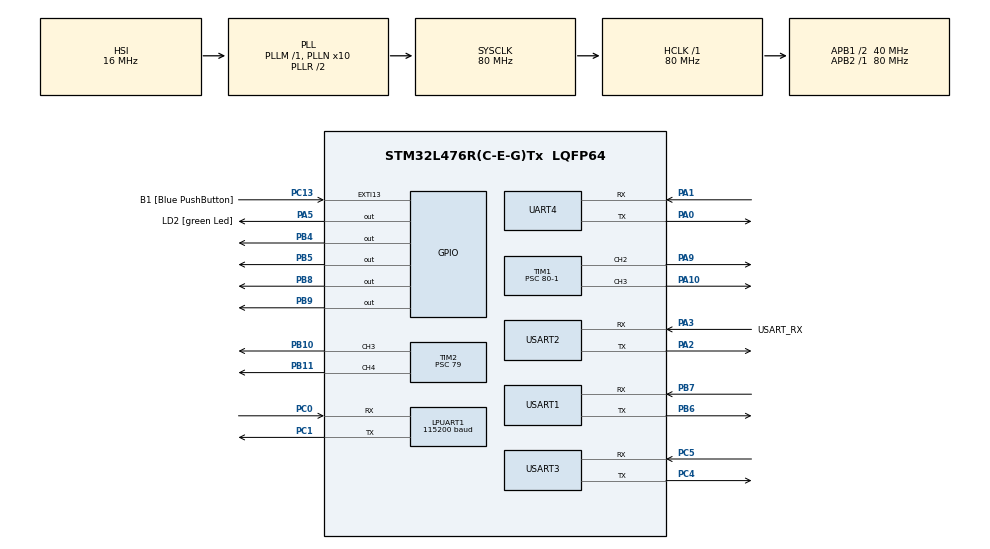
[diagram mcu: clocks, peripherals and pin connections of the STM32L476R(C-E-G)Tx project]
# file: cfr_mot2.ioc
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LPUART1.BaudRate=115200
LPUART1.WordLength=UART_WORDLENGTH_8B
Mcu.Family=STM32L4
Mcu.Name=STM32L476R(C-E-G)Tx
Mcu.Package=LQFP64
NVIC.LPUART1_IRQn=true\:0\:0\:false\:false\:true\:true\:true\:true
NVIC.PriorityGroup=NVIC_PRIORITYGROUP_4
NVIC.UART4_IRQn=true\:0\:0\:false\:false\:true\:true\:true\:true
PA0.Mode=Asynchronous
PA0.Signal=UART4_TX
PA1.Mode=Asynchronous
PA1.Signal=UART4_RX
PA10.Signal=S_TIM1_CH3
PA13\ (JTMS-SWDIO).GPIO_Label=TMS
PA13\ (JTMS-SWDIO).Mode=Serial_Wire
PA13\ (JTMS-SWDIO).Signal=SYS_JTMS-SWDIO
PA14\ (JTCK-SWCLK).GPIO_Label=TCK
PA14\ (JTCK-SWCLK).Mode=Serial_Wire
PA14\ (JTCK-SWCLK).Signal=SYS_JTCK-SWCLK
PA2.Mode=Asynchronous
PA2.Signal=USART2_TX
PA3.GPIO_Label=USART_RX
PA3.GPIO_Mode=GPIO_MODE_AF_PP
PA3.GPIO_PuPd=GPIO_NOPULL
PA3.GPIO_Speed=GPIO_SPEED_FREQ_VERY_HIGH
PA3.Mode=Asynchronous
PA3.Signal=USART2_RX
PA5.GPIO_Label=LD2 [green Led]
PA5.GPIO_ModeDefaultOutputPP=GPIO_MODE_OUTPUT_PP
PA5.GPIO_PuPd=GPIO_NOPULL
PA5.GPIO_Speed=GPIO_SPEED_FREQ_LOW
PA5.Signal=GPIO_Output
PA9.Signal=S_TIM1_CH2
PB10.Signal=S_TIM2_CH3
PB11.Signal=S_TIM2_CH4
PB4\ (NJTRST).Signal=GPIO_Output
PB5.Signal=GPIO_Output
PB6.Mode=Asynchronous
PB6.Signal=USART1_TX
PB7.Mode=Asynchronous
PB7.Signal=USART1_RX
PB8.Signal=GPIO_Output
PB9.Signal=GPIO_Output
PC0.Mode=Asynchronous
PC0.Signal=LPUART1_RX
PC1.Mode=Asynchronous
PC1.Signal=LPUART1_TX
PC13.GPIO_Label=B1 [Blue PushButton]
PC13.GPIO_ModeDefaultEXTI=GPIO_MODE_IT_FALLING
PC13.GPIO_PuPd=GPIO_NOPULL
PC13.Signal=GPXTI13
PC14-OSC32_IN\ (PC14).Mode=LSE-External-Oscillator
PC14-OSC32_IN\ (PC14).Signal=RCC_OSC32_IN
PC15-OSC32_OUT\ (PC15).Mode=LSE-External-Oscillator
PC15-OSC32_OUT\ (PC15).Signal=RCC_OSC32_OUT
PC4.Mode=Asynchronous
PC4.Signal=USART3_TX
PC5.Mode=Asynchronous
PC5.Signal=USART3_RX
PH0-OSC_IN\ (PH0).Mode=HSE-External-Oscillator
PH0-OSC_IN\ (PH0).Signal=RCC_OSC_IN
PH1-OSC_OUT\ (PH1).Mode=HSE-External-Oscillator
PH1-OSC_OUT\ (PH1).Signal=RCC_OSC_OUT
ProjectManager.HeapSize=0x200
ProjectManager.StackSize=0x400
ProjectManager.TargetToolchain=STM32CubeIDE
RCC.ADCFreq_Value=64000000
RCC.AHBFreq_Value=80000000
RCC.APB1CLKDivider=RCC_HCLK_DIV2
RCC.APB1Freq_Value=40000000
RCC.APB1TimFreq_Value=80000000
RCC.APB2Freq_Value=80000000
RCC.APB2TimFreq_Value=80000000
RCC.CortexFreq_Value=80000000
RCC.HCLKFreq_Value=80000000
RCC.HSE_VALUE=8000000
RCC.HSI_VALUE=16000000
RCC.MSI_VALUE=4000000
RCC.PLLN=10
RCC.PLLSourceVirtual=RCC_PLLSOURCE_HSI
RCC.PREFETCH_ENABLE=1
RCC.SYSCLKFreq_VALUE=80000000
RCC.SYSCLKSource=RCC_SYSCLKSOURCE_PLLCLK
RCC.USBFreq_Value=64000000
RCC.VCOOutputFreq_Value=160000000
SH.S_TIM1_CH2.0=TIM1_CH2,PWM Generation2 CH2
SH.S_TIM1_CH3.0=TIM1_CH3,PWM Generation3 CH3
SH.S_TIM2_CH3.0=TIM2_CH3,PWM Generation3 CH3
SH.S_TIM2_CH4.0=TIM2_CH4,PWM Generation4 CH4
TIM1.Channel-PWM\ Generation2\ CH2=TIM_CHANNEL_2
TIM1.Channel-PWM\ Generation3\ CH3=TIM_CHANNEL_3
TIM1.Period=20000-1
TIM1.Prescaler=80-1
TIM2.Channel-PWM\ Generation3\ CH3=TIM_CHANNEL_3
TIM2.Channel-PWM\ Generation4\ CH4=TIM_CHANNEL_4
TIM2.Period=1999
TIM2.Prescaler=79
USART1.VirtualMode-Asynchronous=VM_ASYNC
USART2.VirtualMode-Asynchronous=VM_ASYNC
USART3.VirtualMode-Asynchronous=VM_ASYNC
VP_TIM1_VS_ClockSourceINT.Mode=Internal
VP_TIM2_VS_ClockSourceINT.Mode=Internal
board=NUCLEO-L476RG

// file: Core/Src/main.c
/* USER CODE BEGIN Header */
/**
 ******************************************************************************
 * @file           : main.c
 * @brief          : Main program body
 ******************************************************************************
 * @attention
 *
 * Copyright (c) 2024 STMicroelectronics.
 * All rights reserved.
 *
 * This software is licensed under terms that can be found in the LICENSE file
 * in the root directory of this software component.
 * If no LICENSE file comes with this software, it is provided AS-IS.
 *
 ******************************************************************************
 */
/* USER CODE END Header */
#include "main.h"

/* USER CODE BEGIN Includes */
#include <string.h>
#include <stdio.h>
#include "servo.h"
#include "maxon.h"
/* USER CODE END Includes */

UART_HandleTypeDef hlpuart1;
UART_HandleTypeDef huart4;
UART_HandleTypeDef huart1;
UART_HandleTypeDef huart2;
UART_HandleTypeDef huart3;

TIM_HandleTypeDef htim1;
TIM_HandleTypeDef htim2;

/* USER CODE BEGIN PV */
char rx_data[27]; // Buffer for receiving data with '>' start marker
char newline[] = "\r\n";
int i = 0;

/* USER CODE END PV */

void SystemClock_Config(void);
static void MX_GPIO_Init(void);
static void MX_TIM2_Init(void);
static void MX_LPUART1_UART_Init(void);
static void MX_TIM1_Init(void);
static void MX_USART2_UART_Init(void);
static void MX_USART3_UART_Init(void);
static void MX_UART4_Init(void);
static void MX_USART1_UART_Init(void);

int main(void)
{

	/* MCU Configuration--------------------------------------------------------*/

	/* Reset of all peripherals, Initializes the Flash interface and the Systick. */
	HAL_Init();

	/* Configure the system clock */
	SystemClock_Config();

	/* Initialize all configured peripherals */
	MX_GPIO_Init();
	MX_TIM2_Init();
	MX_LPUART1_UART_Init();
	MX_TIM1_Init();
	MX_USART2_UART_Init();
	MX_USART3_UART_Init();
	MX_UART4_Init();
	MX_USART1_UART_Init();
	/* USER CODE BEGIN 2 */
	HAL_TIM_PWM_Start(&htim2, TIM_CHANNEL_3); // PB10 TIM2 CH3
	HAL_TIM_PWM_Start(&htim2, TIM_CHANNEL_4); // PB11 TIM2 CH4
	HAL_TIM_PWM_Start(&htim1, TIM_CHANNEL_1); // PA8
	HAL_TIM_PWM_Start(&htim1, TIM_CHANNEL_2); // PA9
	HAL_TIM_PWM_Start(&htim1, TIM_CHANNEL_3); // PA10
	HAL_UART_Receive_IT(&hlpuart1, (uint8_t *)rx_data, sizeof(rx_data));
	/* USER CODE END 2 */

	/* Infinite loop */
	/* USER CODE BEGIN WHILE */
	while (1)
	{
		// Find the start marker '>' in rx_data
		int offset = -1;
		for (int j = 0; j < sizeof(rx_data); j++) {
			if (rx_data[j] == '>') {
				offset = j;
				break;
			}
		}

		// Process data if '<' is found
		if (offset >= 0) {
			// Debug output: Reconstruct the message in circular order
			char console_data[29]; // 27 bytes + \r\n
			for (int i = 0; i < 27; i++) {
				console_data[i] = rx_data[(offset + i) % 27];
			}
			console_data[27] = '\r';
			console_data[28] = '\n';
			HAL_UART_Transmit(&huart2, (uint8_t *)console_data, 29, HAL_MAX_DELAY);

			// Extraction et envoi des commandes aux deux moteurs Maxon
			char mot_maxon_dataD[5], mot_maxon_dataG[5];

			// Lecture valeur moteur droit
			for (int i = 0; i < 4; i++) {
				mot_maxon_dataD[i] = rx_data[(offset + 2 + i) % 27];
			}
			mot_maxon_dataD[4] = '\0';
			int mot_maxon_valueD = atoi(mot_maxon_dataD);
			if (mot_maxon_valueD < 0) mot_maxon_valueD = 0;
			if (mot_maxon_valueD > 1999) mot_maxon_valueD = 1999;

			// Lecture direction moteur droit
			int inv_d = rx_data[(offset + 1) % 27] - '0';
			if (inv_d != 0 && inv_d != 1) inv_d = 0;

			// Lecture valeur moteur gauche
			for (int i = 0; i < 4; i++) {
				mot_maxon_dataG[i] = rx_data[(offset + 7 + i) % 27];
			}
			mot_maxon_dataG[4] = '\0';
			int mot_maxon_valueG = atoi(mot_maxon_dataG);
			if (mot_maxon_valueG < 0) mot_maxon_valueG = 0;
			if (mot_maxon_valueG > 1999) mot_maxon_valueG = 1999;

			// Lecture direction moteur gauche
			int inv_g = rx_data[(offset + 6) % 27] - '0';
			if (inv_g != 0 && inv_g != 1) inv_g = 0;

			// Appel de la fonction unique pour gérer les deux moteurs
			mot_maxon_both(mot_maxon_valueD, inv_d, mot_maxon_valueG, inv_g);

			// Pour les servos (13 octets avec '>' comme marqueur de début)
			char servo_goal_data[13];
			servo_goal_data[0] = '<'; // Ajouter le marqueur de début
			for (int i = 0; i < 12; i++) {
				servo_goal_data[i + 1] = rx_data[(offset + 11 + i) % 27];
			}
			HAL_UART_Transmit(&huart4, (uint8_t *)servo_goal_data, 13, HAL_MAX_DELAY);

			// Steppers - Scindé en deux UARTs
			// Première partie (PCB 1) via huart3
			char stepper_data1[2];
			for (int i = 0; i < 2; i++) {
				stepper_data1[i] = rx_data[(offset + 23 + i) % 27];
			}
			HAL_UART_Transmit(&huart3, (uint8_t *)stepper_data1, 2, HAL_MAX_DELAY);

			// Deuxième partie (PCB 2) via huart1
			char stepper_data2[2];
			for (int i = 0; i < 2; i++) {
				stepper_data2[i] = rx_data[(offset + 25 + i) % 27];
			}
			HAL_UART_Transmit(&huart1, (uint8_t *)stepper_data2, 2, HAL_MAX_DELAY);
		}

		// Re-enable UART reception to resynchronize
		HAL_UART_Receive_IT(&hlpuart1, (uint8_t *)rx_data, sizeof(rx_data));

		/* USER CODE END WHILE */

	}
}

void SystemClock_Config(void)
{
	RCC_OscInitTypeDef RCC_OscInitStruct = {0};
	RCC_ClkInitTypeDef RCC_ClkInitStruct = {0};

	/** Configure the main internal regulator output voltage
	 */
	if (HAL_PWREx_ControlVoltageScaling(PWR_REGULATOR_VOLTAGE_SCALE1) != HAL_OK)
	{
		Error_Handler();
	}

	/** Initializes the RCC Oscillators according to the specified parameters
	 * in the RCC_OscInitTypeDef structure.
	 */
	RCC_OscInitStruct.OscillatorType = RCC_OSCILLATORTYPE_HSI;
	RCC_OscInitStruct.HSIState = RCC_HSI_ON;
	RCC_OscInitStruct.HSICalibrationValue = RCC_HSICALIBRATION_DEFAULT;
	RCC_OscInitStruct.PLL.PLLState = RCC_PLL_ON;
	RCC_OscInitStruct.PLL.PLLSource = RCC_PLLSOURCE_HSI;
	RCC_OscInitStruct.PLL.PLLM = 1;
	RCC_OscInitStruct.PLL.PLLN = 10;
	RCC_OscInitStruct.PLL.PLLP = RCC_PLLP_DIV7;
	RCC_OscInitStruct.PLL.PLLQ = RCC_PLLQ_DIV2;
	RCC_OscInitStruct.PLL.PLLR = RCC_PLLR_DIV2;
	if (HAL_RCC_OscConfig(&RCC_OscInitStruct) != HAL_OK)
	{
		Error_Handler();
	}

	/** Initializes the CPU, AHB and APB buses clocks
	 */
	RCC_ClkInitStruct.ClockType = RCC_CLOCKTYPE_HCLK|RCC_CLOCKTYPE_SYSCLK
			|RCC_CLOCKTYPE_PCLK1|RCC_CLOCKTYPE_PCLK2;
	RCC_ClkInitStruct.SYSCLKSource = RCC_SYSCLKSOURCE_PLLCLK;
	RCC_ClkInitStruct.AHBCLKDivider = RCC_SYSCLK_DIV1;
	RCC_ClkInitStruct.APB1CLKDivider = RCC_HCLK_DIV2;
	RCC_ClkInitStruct.APB2CLKDivider = RCC_HCLK_DIV1;

	if (HAL_RCC_ClockConfig(&RCC_ClkInitStruct, FLASH_LATENCY_4) != HAL_OK)
	{
		Error_Handler();
	}
}

static void MX_LPUART1_UART_Init(void)
{

	hlpuart1.Instance = LPUART1;
	hlpuart1.Init.BaudRate = 115200;
	hlpuart1.Init.WordLength = UART_WORDLENGTH_8B;
	hlpuart1.Init.StopBits = UART_STOPBITS_1;
	hlpuart1.Init.Parity = UART_PARITY_NONE;
	hlpuart1.Init.Mode = UART_MODE_TX_RX;
	hlpuart1.Init.HwFlowCtl = UART_HWCONTROL_NONE;
	hlpuart1.Init.OneBitSampling = UART_ONE_BIT_SAMPLE_DISABLE;
	hlpuart1.AdvancedInit.AdvFeatureInit = UART_ADVFEATURE_NO_INIT;
	if (HAL_UART_Init(&hlpuart1) != HAL_OK)
	{
		Error_Handler();
	}
}

static void MX_UART4_Init(void)
{

	huart4.Instance = UART4;
	huart4.Init.BaudRate = 115200;
	huart4.Init.WordLength = UART_WORDLENGTH_8B;
	huart4.Init.StopBits = UART_STOPBITS_1;
	huart4.Init.Parity = UART_PARITY_NONE;
	huart4.Init.Mode = UART_MODE_TX_RX;
	huart4.Init.HwFlowCtl = UART_HWCONTROL_NONE;
	huart4.Init.OverSampling = UART_OVERSAMPLING_16;
	huart4.Init.OneBitSampling = UART_ONE_BIT_SAMPLE_DISABLE;
	huart4.AdvancedInit.AdvFeatureInit = UART_ADVFEATURE_NO_INIT;
	if (HAL_UART_Init(&huart4) != HAL_OK)
	{
		Error_Handler();
	}
}

static void MX_USART1_UART_Init(void)
{

	huart1.Instance = USART1;
	huart1.Init.BaudRate = 115200;
	huart1.Init.WordLength = UART_WORDLENGTH_8B;
	huart1.Init.StopBits = UART_STOPBITS_1;
	huart1.Init.Parity = UART_PARITY_NONE;
	huart1.Init.Mode = UART_MODE_TX_RX;
	huart1.Init.HwFlowCtl = UART_HWCONTROL_NONE;
	huart1.Init.OverSampling = UART_OVERSAMPLING_16;
	huart1.Init.OneBitSampling = UART_ONE_BIT_SAMPLE_DISABLE;
	huart1.AdvancedInit.AdvFeatureInit = UART_ADVFEATURE_NO_INIT;
	if (HAL_UART_Init(&huart1) != HAL_OK)
	{
		Error_Handler();
	}
}

static void MX_USART2_UART_Init(void)
{

	huart2.Instance = USART2;
	huart2.Init.BaudRate = 115200;
	huart2.Init.WordLength = UART_WORDLENGTH_8B;
	huart2.Init.StopBits = UART_STOPBITS_1;
	huart2.Init.Parity = UART_PARITY_NONE;
	huart2.Init.Mode = UART_MODE_TX_RX;
	huart2.Init.HwFlowCtl = UART_HWCONTROL_NONE;
	huart2.Init.OverSampling = UART_OVERSAMPLING_16;
	huart2.Init.OneBitSampling = UART_ONE_BIT_SAMPLE_DISABLE;
	huart2.AdvancedInit.AdvFeatureInit = UART_ADVFEATURE_NO_INIT;
	if (HAL_UART_Init(&huart2) != HAL_OK)
	{
		Error_Handler();
	}
}

static void MX_USART3_UART_Init(void)
{

	huart3.Instance = USART3;
	huart3.Init.BaudRate = 115200;
	huart3.Init.WordLength = UART_WORDLENGTH_8B;
	huart3.Init.StopBits = UART_STOPBITS_1;
	huart3.Init.Parity = UART_PARITY_NONE;
	huart3.Init.Mode = UART_MODE_TX_RX;
	huart3.Init.HwFlowCtl = UART_HWCONTROL_NONE;
	huart3.Init.OverSampling = UART_OVERSAMPLING_16;
	huart3.Init.OneBitSampling = UART_ONE_BIT_SAMPLE_DISABLE;
	huart3.AdvancedInit.AdvFeatureInit = UART_ADVFEATURE_NO_INIT;
	if (HAL_UART_Init(&huart3) != HAL_OK)
	{
		Error_Handler();
	}
}

static void MX_TIM1_Init(void)
{

	TIM_ClockConfigTypeDef sClockSourceConfig = {0};
	TIM_MasterConfigTypeDef sMasterConfig = {0};
	TIM_OC_InitTypeDef sConfigOC = {0};
	TIM_BreakDeadTimeConfigTypeDef sBreakDeadTimeConfig = {0};

	htim1.Instance = TIM1;
	htim1.Init.Prescaler = 80-1;
	htim1.Init.CounterMode = TIM_COUNTERMODE_UP;
	htim1.Init.Period = 20000-1;
	htim1.Init.ClockDivision = TIM_CLOCKDIVISION_DIV1;
	htim1.Init.RepetitionCounter = 0;
	htim1.Init.AutoReloadPreload = TIM_AUTORELOAD_PRELOAD_DISABLE;
	if (HAL_TIM_Base_Init(&htim1) != HAL_OK)
	{
		Error_Handler();
	}
	sClockSourceConfig.ClockSource = TIM_CLOCKSOURCE_INTERNAL;
	if (HAL_TIM_ConfigClockSource(&htim1, &sClockSourceConfig) != HAL_OK)
	{
		Error_Handler();
	}
	if (HAL_TIM_PWM_Init(&htim1) != HAL_OK)
	{
		Error_Handler();
	}
	sMasterConfig.MasterOutputTrigger = TIM_TRGO_RESET;
	sMasterConfig.MasterOutputTrigger2 = TIM_TRGO2_RESET;
	sMasterConfig.MasterSlaveMode = TIM_MASTERSLAVEMODE_DISABLE;
	if (HAL_TIMEx_MasterConfigSynchronization(&htim1, &sMasterConfig) != HAL_OK)
	{
		Error_Handler();
	}
	sConfigOC.OCMode = TIM_OCMODE_PWM1;
	sConfigOC.Pulse = 0;
	sConfigOC.OCPolarity = TIM_OCPOLARITY_HIGH;
	sConfigOC.OCNPolarity = TIM_OCNPOLARITY_HIGH;
	sConfigOC.OCFastMode = TIM_OCFAST_DISABLE;
	sConfigOC.OCIdleState = TIM_OCIDLESTATE_RESET;
	sConfigOC.OCNIdleState = TIM_OCNIDLESTATE_RESET;
	if (HAL_TIM_PWM_ConfigChannel(&htim1, &sConfigOC, TIM_CHANNEL_2) != HAL_OK)
	{
		Error_Handler();
	}
	if (HAL_TIM_PWM_ConfigChannel(&htim1, &sConfigOC, TIM_CHANNEL_3) != HAL_OK)
	{
		Error_Handler();
	}
	sBreakDeadTimeConfig.OffStateRunMode = TIM_OSSR_DISABLE;
	sBreakDeadTimeConfig.OffStateIDLEMode = TIM_OSSI_DISABLE;
	sBreakDeadTimeConfig.LockLevel = TIM_LOCKLEVEL_OFF;
	sBreakDeadTimeConfig.DeadTime = 0;
	sBreakDeadTimeConfig.BreakState = TIM_BREAK_DISABLE;
	sBreakDeadTimeConfig.BreakPolarity = TIM_BREAKPOLARITY_HIGH;
	sBreakDeadTimeConfig.BreakFilter = 0;
	sBreakDeadTimeConfig.Break2State = TIM_BREAK2_DISABLE;
	sBreakDeadTimeConfig.Break2Polarity = TIM_BREAK2POLARITY_HIGH;
	sBreakDeadTimeConfig.Break2Filter = 0;
	sBreakDeadTimeConfig.AutomaticOutput = TIM_AUTOMATICOUTPUT_DISABLE;
	if (HAL_TIMEx_ConfigBreakDeadTime(&htim1, &sBreakDeadTimeConfig) != HAL_OK)
	{
		Error_Handler();
	}
	HAL_TIM_MspPostInit(&htim1);
}

static void MX_TIM2_Init(void)
{

	TIM_ClockConfigTypeDef sClockSourceConfig = {0};
	TIM_MasterConfigTypeDef sMasterConfig = {0};
	TIM_OC_InitTypeDef sConfigOC = {0};

	htim2.Instance = TIM2;
	htim2.Init.Prescaler = 79;
	htim2.Init.CounterMode = TIM_COUNTERMODE_UP;
	htim2.Init.Period = 1999;
	htim2.Init.ClockDivision = TIM_CLOCKDIVISION_DIV1;
	htim2.Init.AutoReloadPreload = TIM_AUTORELOAD_PRELOAD_DISABLE;
	if (HAL_TIM_Base_Init(&htim2) != HAL_OK)
	{
		Error_Handler();
	}
	sClockSourceConfig.ClockSource = TIM_CLOCKSOURCE_INTERNAL;
	if (HAL_TIM_ConfigClockSource(&htim2, &sClockSourceConfig) != HAL_OK)
	{
		Error_Handler();
	}
	if (HAL_TIM_PWM_Init(&htim2) != HAL_OK)
	{
		Error_Handler();
	}
	sMasterConfig.MasterOutputTrigger = TIM_TRGO_RESET;
	sMasterConfig.MasterSlaveMode = TIM_MASTERSLAVEMODE_DISABLE;
	if (HAL_TIMEx_MasterConfigSynchronization(&htim2, &sMasterConfig) != HAL_OK)
	{
		Error_Handler();
	}
	sConfigOC.OCMode = TIM_OCMODE_PWM1;
	sConfigOC.Pulse = 0;
	sConfigOC.OCPolarity = TIM_OCPOLARITY_HIGH;
	sConfigOC.OCFastMode = TIM_OCFAST_DISABLE;
	if (HAL_TIM_PWM_ConfigChannel(&htim2, &sConfigOC, TIM_CHANNEL_3) != HAL_OK)
	{
		Error_Handler();
	}
	if (HAL_TIM_PWM_ConfigChannel(&htim2, &sConfigOC, TIM_CHANNEL_4) != HAL_OK)
	{
		Error_Handler();
	}
	HAL_TIM_MspPostInit(&htim2);
}

static void MX_GPIO_Init(void)
{
	GPIO_InitTypeDef GPIO_InitStruct = {0};

	/* GPIO Ports Clock Enable */
	__HAL_RCC_GPIOC_CLK_ENABLE();
	__HAL_RCC_GPIOH_CLK_ENABLE();
	__HAL_RCC_GPIOA_CLK_ENABLE();
	__HAL_RCC_GPIOB_CLK_ENABLE();

	/*Configure GPIO pin Output Level */
	HAL_GPIO_WritePin(LD2_GPIO_Port, LD2_Pin, GPIO_PIN_RESET);

	/*Configure GPIO pin Output Level */
	HAL_GPIO_WritePin(GPIOB, GPIO_PIN_4|GPIO_PIN_5|GPIO_PIN_8|GPIO_PIN_9, GPIO_PIN_RESET);

	/*Configure GPIO pin : B1_Pin */
	GPIO_InitStruct.Pin = B1_Pin;
	GPIO_InitStruct.Mode = GPIO_MODE_IT_FALLING;
	GPIO_InitStruct.Pull = GPIO_NOPULL;
	HAL_GPIO_Init(B1_GPIO_Port, &GPIO_InitStruct);

	/*Configure GPIO pin : LD2_Pin */
	GPIO_InitStruct.Pin = LD2_Pin;
	GPIO_InitStruct.Mode = GPIO_MODE_OUTPUT_PP;
	GPIO_InitStruct.Pull = GPIO_NOPULL;
	GPIO_InitStruct.Speed = GPIO_SPEED_FREQ_LOW;
	HAL_GPIO_Init(LD2_GPIO_Port, &GPIO_InitStruct);

	/*Configure GPIO pins : PB4 PB5 PB8 PB9 */
	GPIO_InitStruct.Pin = GPIO_PIN_4|GPIO_PIN_5|GPIO_PIN_8|GPIO_PIN_9;
	GPIO_InitStruct.Mode = GPIO_MODE_OUTPUT_PP;
	GPIO_InitStruct.Pull = GPIO_NOPULL;
	GPIO_InitStruct.Speed = GPIO_SPEED_FREQ_LOW;
	HAL_GPIO_Init(GPIOB, &GPIO_InitStruct);

}

/* USER CODE BEGIN 4 */
void HAL_UART_RxCpltCallback(UART_HandleTypeDef *huart)
{
	if (huart == &hlpuart1) {
		// Réactiver la réception immédiatement
		HAL_UART_Receive_IT(&hlpuart1, (uint8_t *)rx_data, sizeof(rx_data));
	}
}
/* USER CODE END 4 */

void Error_Handler(void)
{
	__disable_irq();
	while (1)
	{
	}
}
